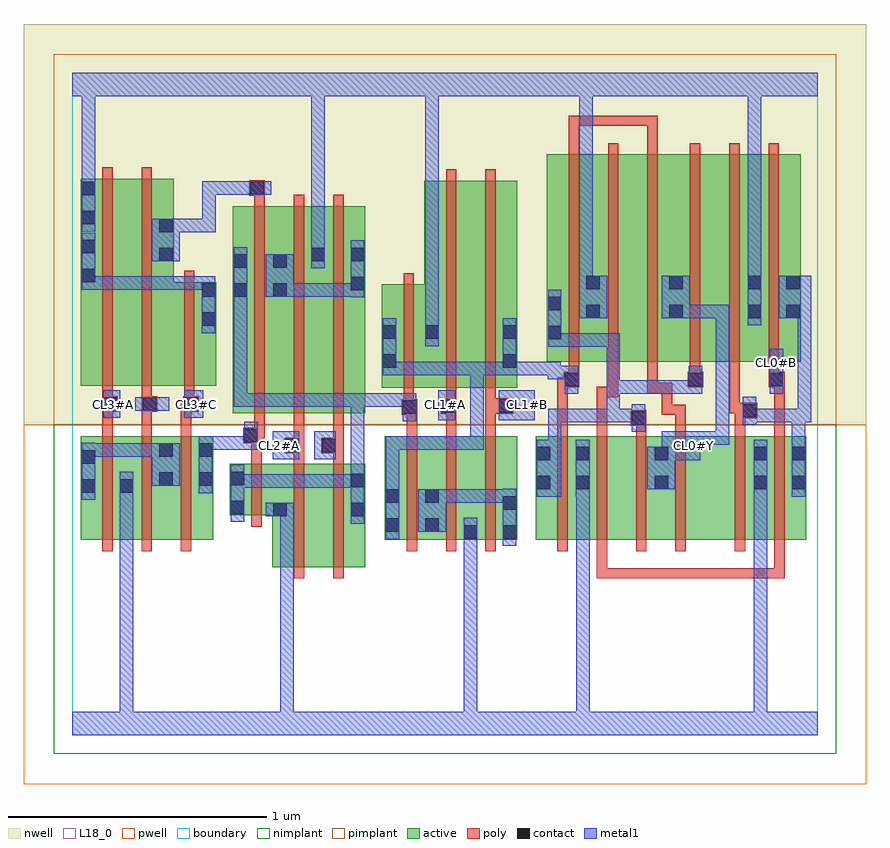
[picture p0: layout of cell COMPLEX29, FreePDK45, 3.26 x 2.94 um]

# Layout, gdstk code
import gdstk
lib = gdstk.Library(unit=1e-6, precision=1e-09)
def R(c, l, rs):  # rectangles x0, y0, x1, y1
    for r in rs: c.add(gdstk.rectangle(r[:2], r[2:], *l))
def A(c, l, x, y, w, h, nx, ny, dx, dy):  # array of equal rectangles
    R(c, l, [(x+i*dx, y+j*dy, x+i*dx+w, y+j*dy+h) for i in range(nx) for j in range(ny)])
active = (1, 0)
pwell = (2, 0)
nwell = (3, 0)
nimplant = (4, 0)
pimplant = (5, 0)
poly = (9, 0)
contact = (10, 0)
metal1 = (11, 0)
L18_0 = (18, 0)
boundary = (235, 0)

complex29 = lib.new_cell('COMPLEX29')
A(complex29, active, 0.18, 0.756, 0.06, 0.4, 3, 1, 0.152, 0)
R(complex29, active, [(0.772,0.65,0.832,1.05), (0.772,0.65,0.952,1.05), (0.952,0.65,1.132,1.05), (0.032,0.756,0.092,1.156), (0.032,0.756,0.24,1.156), (0.18,0.756,0.392,1.156), (0.332,0.756,0.544,1.156), (1.072,0.756,1.132,1.05), (1.208,0.756,1.268,1.156), (1.208,0.756,1.42,1.156), (1.36,0.756,1.42,1.156), (1.36,0.756,1.568,1.156), (1.508,0.756,1.568,1.156), (1.508,0.756,1.72,1.156), (1.66,0.756,1.72,1.156), (1.79,0.756,1.85,1.156), (1.79,0.756,2.002,1.156), (1.942,0.756,2.002,1.118), (1.942,0.756,2.122,1.156), (2.122,0.756,2.306,1.156), (2.246,0.756,2.306,1.118), (2.246,0.756,2.426,1.156), (2.426,0.756,2.688,1.156), (2.628,0.756,2.836,1.156), (2.628,0.756,2.688,1.118), (2.776,0.756,2.836,1.156), (0.608,0.85,0.832,1.05), (0.608,0.85,0.668,1.05), (0.62,1.244,0.68,2.044), (0.62,1.244,0.832,2.044), (0.772,1.244,0.98,2.044), (0.92,1.244,1.132,2.044), (1.072,1.244,1.132,2.044), (1.196,1.342,1.256,1.644), (1.196,1.342,1.42,1.742), (1.36,1.342,1.54,2.142), (1.36,1.342,1.42,1.644), (1.54,1.342,1.72,2.142), (1.66,1.342,1.72,2.044), (0.032,1.35,0.212,2.15), (0.032,1.35,0.092,2.142), (0.212,1.35,0.392,2.15), (0.332,1.35,0.556,1.75), (0.332,1.35,0.392,2), (0.496,1.35,0.556,1.75), (1.834,1.444,1.894,2.044), (1.834,1.444,2.042,2.244), (1.982,1.444,2.042,2.044), (1.982,1.444,2.166,2.244), (2.166,1.444,2.362,2.244), (2.302,1.444,2.362,2.044), (2.302,1.444,2.482,2.244), (2.482,1.444,2.666,2.244), (2.606,1.444,2.666,2.044), (2.606,1.444,2.814,2.244), (2.754,1.444,2.814,2.044), (0.772,1.686,0.832,2.044), (0.92,1.686,0.98,2.044)])
R(complex29, pwell, [(-0.188,-0.188,3.068,1.2)])
R(complex29, nwell, [(-0.188,1.2,3.068,2.748)])
R(complex29, nimplant, [(-0.072,-0.072,2.952,1.2)])
R(complex29, pimplant, [(-0.072,1.2,2.952,2.632)])
A(complex29, poly, 0.116, 0.712, 0.04, 0.488, 3, 1, 0.152, 0)
A(complex29, poly, 1.292, 0.712, 0.04, 0.488, 3, 1, 0.152, 0)
A(complex29, poly, 1.874, 0.712, 0.04, 0.488, 4, 1, 0.152, 0)
A(complex29, poly, 0.116, 1.16, 0.04, 0.13, 3, 1, 0.152, 0)
A(complex29, poly, 0.704, 1.2, 0.04, 0.888, 3, 1, 0.152, 0)
A(complex29, poly, 1.918, 1.4, 0.04, 0.888, 3, 1, 0.152, 0)
A(complex29, poly, 2.386, 1.4, 0.04, 0.888, 3, 1, 0.152, 0)
R(complex29, poly, [(0.856,0.606,0.896,1.094), (1.008,0.606,1.048,1.094), (2.026,0.606,2.066,0.646), (2.026,0.606,2.066,0.752), (2.026,0.606,2.172,0.646), (2.132,0.606,2.172,0.646), (2.132,0.606,2.172,0.646), (2.132,0.606,2.172,0.646), (2.132,0.606,2.368,0.646), (2.328,0.606,2.368,0.646), (2.328,0.606,2.368,0.646), (2.328,0.606,2.368,0.646), (2.328,0.606,2.624,0.646), (2.584,0.606,2.624,0.646), (2.584,0.606,2.624,0.646), (2.584,0.606,2.624,0.646), (2.584,0.606,2.752,0.646), (2.712,0.606,2.752,0.646), (2.712,0.606,2.752,0.646), (2.712,0.606,2.752,0.646), (2.712,0.606,2.752,0.752), (2.56,0.712,2.6,1.2), (2.712,0.712,2.752,1.2), (0.692,0.806,0.732,1.094), (0.692,1.054,0.732,1.168), (0.856,1.054,0.896,1.13), (1.008,1.054,1.048,1.13), (0.82,1.09,0.896,1.15), (0.962,1.09,1.048,1.15), (0.856,1.11,0.896,1.15), (0.856,1.11,0.896,1.15), (0.856,1.11,0.896,1.24), (1.008,1.11,1.048,1.15), (1.008,1.11,1.048,1.15), (1.008,1.11,1.048,1.24), (0.66,1.128,0.732,1.188), (0.692,1.148,0.732,1.188), (0.692,1.148,0.744,1.188), (0.704,1.148,0.744,1.24), (1.292,1.16,1.332,1.278), (1.444,1.16,1.484,1.282), (1.596,1.16,1.636,1.282), (1.874,1.16,1.914,1.384), (2.026,1.16,2.066,1.346), (2.178,1.16,2.218,1.236), (2.33,1.16,2.37,1.278), (2.56,1.16,2.6,1.264), (2.712,1.16,2.752,1.384), (2.158,1.196,2.218,1.256), (2.56,1.224,2.646,1.284), (1.272,1.238,1.332,1.298), (1.292,1.238,1.332,1.278), (1.292,1.238,1.332,1.278), (2.278,1.238,2.318,1.278), (2.278,1.238,2.37,1.278), (2.278,1.238,2.318,1.362), (2.33,1.238,2.37,1.278), (1.424,1.242,1.484,1.302), (1.444,1.242,1.484,1.282), (1.444,1.242,1.484,1.282), (1.596,1.242,1.704,1.302), (2.538,1.244,2.578,1.44), (2.538,1.244,2.6,1.284), (2.56,1.244,2.6,1.284), (0.116,1.25,0.156,1.29), (0.116,1.25,0.156,1.29), (0.116,1.25,0.176,1.31), (0.268,1.25,0.308,1.29), (0.268,1.25,0.308,1.29), (0.268,1.25,0.328,1.31), (0.42,1.25,0.468,1.29), (0.428,1.25,0.468,1.29), (0.428,1.25,0.488,1.31), (1.28,1.258,1.32,1.338), (1.444,1.262,1.484,1.338), (1.596,1.262,1.636,1.338), (1.596,1.262,1.636,1.302), (1.596,1.262,1.636,1.302), (0.116,1.27,0.156,1.346), (0.268,1.27,0.308,1.346), (0.432,1.27,0.472,1.346), (1.28,1.298,1.32,1.786), (1.444,1.298,1.484,2.186), (1.596,1.298,1.636,2.186), (0.116,1.306,0.156,2.194), (0.268,1.306,0.308,2.194), (0.432,1.306,0.472,1.794), (2.026,1.306,2.092,1.346), (2.052,1.306,2.092,1.346), (2.052,1.306,2.11,1.346), (2.07,1.306,2.11,1.44), (2.222,1.322,2.262,1.362), (2.222,1.322,2.262,1.44), (2.222,1.322,2.318,1.362), (2.278,1.322,2.318,1.362), (1.874,1.344,1.938,1.384), (1.898,1.344,1.938,1.384), (1.898,1.344,1.958,1.404), (2.378,1.344,2.438,1.404), (2.69,1.344,2.752,1.404), (2.712,1.344,2.752,1.384), (2.712,1.344,2.752,1.384), (1.918,1.364,1.958,1.44), (2.386,1.364,2.426,1.44), (2.69,1.364,2.73,1.44), (0.704,2.048,0.744,2.124), (0.684,2.084,0.744,2.144), (1.918,2.248,1.958,2.394), (2.222,2.248,2.262,2.394), (1.918,2.354,1.958,2.394), (1.918,2.354,1.958,2.394), (1.918,2.354,1.958,2.394), (1.918,2.354,2.064,2.394), (2.024,2.354,2.064,2.394), (2.024,2.354,2.064,2.394), (2.024,2.354,2.064,2.394), (2.024,2.354,2.262,2.394), (2.222,2.354,2.262,2.394)])
A(complex29, contact, 0.036, 1.75, 0.052, 0.052, 1, 4, 0, 0.112)
R(complex29, contact, [(1.512,0.76,1.564,0.812), (1.664,0.76,1.716,0.812), (1.212,0.786,1.264,0.838), (1.364,0.786,1.416,0.838), (0.776,0.846,0.828,0.898), (1.076,0.846,1.128,0.898), (0.612,0.854,0.664,0.906), (1.664,0.872,1.716,0.924), (1.212,0.898,1.264,0.95), (1.364,0.898,1.416,0.95), (0.036,0.938,0.088,0.99), (0.184,0.938,0.236,0.99), (1.794,0.95,1.846,1.002), (1.946,0.95,1.998,1.002), (2.25,0.95,2.302,1.002), (2.632,0.95,2.684,1.002), (2.78,0.95,2.832,1.002), (1.076,0.958,1.128,1.01), (0.336,0.964,0.388,1.016), (0.488,0.964,0.54,1.016), (0.612,0.966,0.664,1.018), (0.036,1.05,0.088,1.102), (1.794,1.062,1.846,1.114), (1.946,1.062,1.998,1.114), (2.25,1.062,2.302,1.114), (2.632,1.062,2.684,1.114), (2.78,1.062,2.832,1.114), (0.336,1.076,0.388,1.128), (0.488,1.076,0.54,1.128), (0.824,1.094,0.876,1.146), (0.966,1.094,1.018,1.146), (0.664,1.132,0.716,1.184), (2.162,1.2,2.214,1.252), (2.59,1.228,2.642,1.28), (1.276,1.242,1.328,1.294), (1.428,1.246,1.48,1.298), (1.648,1.246,1.7,1.298), (0.12,1.254,0.172,1.306), (0.272,1.254,0.324,1.306), (0.432,1.254,0.484,1.306), (1.902,1.348,1.954,1.4), (2.382,1.348,2.434,1.4), (2.694,1.348,2.746,1.4), (1.2,1.42,1.252,1.472), (1.664,1.42,1.716,1.472), (1.838,1.53,1.89,1.582), (1.2,1.532,1.252,1.584), (1.364,1.532,1.416,1.584), (1.664,1.532,1.716,1.584), (0.5,1.582,0.552,1.634), (1.986,1.612,2.038,1.664), (2.306,1.612,2.358,1.664), (2.61,1.612,2.662,1.664), (2.758,1.612,2.81,1.664), (1.838,1.642,1.89,1.694), (0.5,1.694,0.552,1.746), (0.624,1.694,0.676,1.746), (0.776,1.694,0.828,1.746), (1.076,1.72,1.128,1.772), (1.986,1.724,2.038,1.776), (2.306,1.724,2.358,1.776), (2.61,1.724,2.662,1.776), (2.758,1.724,2.81,1.776), (0.624,1.806,0.676,1.858), (0.776,1.806,0.828,1.858), (0.336,1.832,0.388,1.884), (0.924,1.832,0.976,1.884), (1.076,1.832,1.128,1.884), (0.336,1.944,0.388,1.996), (0.688,2.088,0.74,2.14)])
R(complex29, metal1, [(0,0,2.88,0.092), (0.184,0.04,0.236,0.092), (0.184,0.04,0.236,0.092), (0.184,0.04,0.236,0.092), (0.184,0.04,0.236,0.092), (0.184,0.04,0.236,0.092), (0.184,0.04,0.236,0.092), (0.184,0.04,0.236,0.092), (0.184,0.04,0.236,0.092), (0.184,0.04,0.236,0.092), (0.184,0.04,0.236,0.092), (0.184,0.04,0.236,0.092), (0.184,0.04,0.236,0.092), (0.184,0.04,0.236,0.962), (0.804,0.04,0.856,0.092), (0.804,0.04,0.856,0.092), (0.804,0.04,0.856,0.092), (0.804,0.04,0.856,0.092), (0.804,0.04,0.856,0.898), (1.512,0.04,1.564,0.092), (1.512,0.04,1.564,0.092), (1.512,0.04,1.564,0.092), (1.512,0.04,1.564,0.092), (1.512,0.04,1.564,0.092), (1.512,0.04,1.564,0.092), (1.512,0.04,1.564,0.092), (1.512,0.04,1.564,0.092), (1.512,0.04,1.564,0.784), (1.948,0.04,2,0.092), (1.948,0.04,2,0.092), (1.948,0.04,2,0.092), (1.948,0.04,2,0.092), (1.948,0.04,2,0.092), (1.948,0.04,2,0.092), (1.948,0.04,2,0.092), (1.948,0.04,2,0.092), (1.948,0.04,2,0.092), (1.948,0.04,2,0.092), (1.948,0.04,2,0.092), (1.948,0.04,2,0.092), (1.948,0.04,2,0.974), (2.632,0.04,2.684,0.092), (2.632,0.04,2.684,0.092), (2.632,0.04,2.684,0.092), (2.632,0.04,2.684,0.092), (2.632,0.04,2.684,0.092), (2.632,0.04,2.684,0.092), (2.632,0.04,2.684,0.092), (2.632,0.04,2.684,0.092), (2.632,0.04,2.684,0.974), (1.512,0.732,1.564,0.784), (1.512,0.732,1.564,0.784), (1.512,0.732,1.564,0.784), (1.512,0.732,1.564,0.784), (1.512,0.732,1.564,0.84), (1.664,0.732,1.716,0.952), (1.212,0.758,1.264,0.978), (1.336,0.786,1.444,0.95), (1.076,0.818,1.128,1.038), (0.612,0.826,0.664,1.046), (0.748,0.846,0.856,0.898), (0.804,0.846,0.856,0.898), (0.804,0.846,0.856,0.898), (0.804,0.846,0.856,0.898), (0.804,0.846,0.856,0.898), (0.804,0.846,0.856,0.898), (0.804,0.846,0.856,0.898), (0.804,0.846,0.856,0.898), (0.804,0.846,0.856,0.898), (1.392,0.898,1.554,0.95), (1.502,0.898,1.554,0.95), (1.502,0.898,1.554,0.95), (1.502,0.898,1.554,0.95), (1.502,0.898,1.716,0.95), (1.664,0.898,1.716,0.95), (1.664,0.898,1.716,0.95), (0.036,0.91,0.088,1.13), (0.184,0.91,0.236,1.018), (1.794,0.922,1.89,1.142), (1.946,0.922,2,1.142), (2.632,0.922,2.684,0.974), (2.632,0.922,2.684,0.974), (2.632,0.922,2.684,0.974), (2.632,0.922,2.684,0.974), (2.632,0.922,2.684,1.142), (2.78,0.922,2.832,1.142), (1.212,0.926,1.264,1.156), (0.488,0.936,0.54,1.156), (2.222,0.95,2.33,1.114), (0.612,0.956,0.664,1.008), (0.612,0.956,0.664,1.008), (0.612,0.956,0.856,1.008), (0.804,0.956,0.856,1.008), (0.804,0.956,0.856,1.008), (0.804,0.956,0.856,1.008), (0.804,0.956,0.966,1.008), (0.914,0.956,0.966,1.008), (0.914,0.956,0.966,1.008), (0.914,0.956,0.966,1.008), (0.914,0.956,1.128,1.008), (0.308,0.964,0.416,1.128), (1.076,0.986,1.128,1.322), (2.278,1.062,2.33,1.114), (2.278,1.062,2.426,1.174), (0.774,1.066,0.876,1.174), (0.934,1.066,1.018,1.174), (0.036,1.076,0.088,1.128), (0.036,1.076,0.088,1.128), (0.036,1.076,0.25,1.128), (0.198,1.076,0.25,1.128), (0.198,1.076,0.25,1.128), (0.198,1.076,0.25,1.128), (0.198,1.076,0.36,1.128), (1.838,1.09,1.89,1.262), (2.78,1.09,2.832,1.262), (0.488,1.104,0.54,1.156), (0.488,1.104,0.54,1.156), (0.488,1.104,0.54,1.156), (0.488,1.104,0.54,1.156), (0.488,1.104,0.716,1.156), (0.664,1.104,0.716,1.212), (1.212,1.104,1.264,1.156), (1.212,1.104,1.264,1.156), (1.212,1.104,1.264,1.156), (1.212,1.104,1.374,1.156), (1.322,1.104,1.374,1.156), (1.322,1.104,1.374,1.156), (1.322,1.104,1.374,1.156), (1.322,1.104,1.59,1.156), (1.538,1.104,1.59,1.156), (1.538,1.104,1.59,1.444), (2.374,1.122,2.426,1.174), (2.374,1.122,2.426,1.174), (2.374,1.122,2.538,1.174), (2.486,1.122,2.538,1.174), (2.486,1.122,2.538,1.664), (2.162,1.172,2.214,1.28), (2.59,1.2,2.642,1.308), (1.838,1.21,1.89,1.262), (1.838,1.21,1.896,1.262), (1.844,1.21,1.896,1.262), (1.844,1.21,2.006,1.262), (1.954,1.21,2.006,1.262), (1.954,1.21,2.006,1.262), (1.954,1.21,2.006,1.262), (1.954,1.21,2.116,1.262), (2.064,1.21,2.116,1.262), (2.064,1.21,2.214,1.262), (2.064,1.21,2.116,1.372), (2.59,1.21,2.648,1.262), (2.596,1.21,2.648,1.262), (2.596,1.21,2.832,1.262), (2.78,1.21,2.832,1.262), (2.78,1.21,2.832,1.262), (2.78,1.21,2.854,1.262), (2.802,1.21,2.854,1.664), (2.802,1.21,2.854,1.262), (2.802,1.21,2.854,1.262), (1.276,1.214,1.328,1.322), (1.414,1.218,1.48,1.334), (1.648,1.218,1.786,1.334), (0.12,1.226,0.186,1.334), (0.432,1.226,0.506,1.334), (0.244,1.254,0.374,1.306), (0.624,1.27,0.676,1.322), (0.624,1.27,0.676,1.322), (0.624,1.27,0.676,1.322), (0.624,1.27,0.856,1.322), (0.624,1.27,0.676,1.718), (0.804,1.27,0.856,1.322), (0.804,1.27,0.856,1.322), (0.804,1.27,0.856,1.322), (0.804,1.27,0.986,1.322), (0.934,1.27,0.986,1.322), (0.934,1.27,0.986,1.322), (0.934,1.27,0.986,1.322), (0.934,1.27,1.128,1.322), (1.076,1.27,1.128,1.322), (1.076,1.27,1.128,1.322), (1.076,1.27,1.128,1.322), (1.076,1.27,1.128,1.322), (1.076,1.27,1.128,1.322), (1.076,1.27,1.328,1.322), (1.902,1.32,1.954,1.428), (2.064,1.32,2.116,1.372), (2.064,1.32,2.116,1.372), (2.064,1.32,2.116,1.372), (2.064,1.32,2.428,1.372), (2.064,1.32,2.116,1.554), (2.376,1.32,2.428,1.372), (2.376,1.32,2.434,1.372), (2.382,1.32,2.434,1.428), (2.694,1.32,2.746,1.494), (1.836,1.376,1.954,1.428), (1.836,1.376,1.888,1.444), (1.2,1.392,1.252,1.444), (1.2,1.392,1.252,1.444), (1.2,1.392,1.252,1.612), (1.2,1.392,1.444,1.444), (1.392,1.392,1.444,1.444), (1.392,1.392,1.444,1.444), (1.392,1.392,1.444,1.444), (1.392,1.392,1.606,1.444), (1.538,1.392,1.59,1.444), (1.538,1.392,1.716,1.444), (1.554,1.392,1.606,1.444), (1.554,1.392,1.716,1.444), (1.664,1.392,1.716,1.444), (1.664,1.392,1.716,1.444), (1.664,1.392,1.716,1.444), (1.664,1.392,1.716,1.444), (1.664,1.392,1.716,1.444), (1.664,1.392,1.716,1.444), (1.664,1.392,1.716,1.612), (1.664,1.392,1.888,1.444), (1.838,1.502,1.89,1.722), (1.838,1.502,1.896,1.554), (1.844,1.502,1.896,1.554), (1.844,1.502,2.006,1.554), (1.954,1.502,2.006,1.554), (1.954,1.502,2.006,1.554), (1.954,1.502,2.006,1.554), (1.954,1.502,2.116,1.554), (2.064,1.502,2.116,1.554), (1.364,1.504,1.416,1.612), (0.5,1.554,0.552,1.774), (1.364,1.56,1.416,2.52), (2.61,1.584,2.662,1.804), (1.958,1.612,2.066,1.776), (2.278,1.612,2.386,1.776), (2.334,1.612,2.386,1.664), (2.334,1.612,2.386,1.664), (2.334,1.612,2.538,1.664), (2.486,1.612,2.538,1.664), (2.486,1.612,2.538,1.664), (2.486,1.612,2.538,1.664), (2.73,1.612,2.854,1.776), (0.624,1.666,0.676,1.886), (1.076,1.692,1.128,1.912), (0.748,1.694,0.856,1.858), (0.804,1.694,0.856,1.746), (0.804,1.694,0.856,1.746), (0.804,1.694,1.018,1.746), (0.966,1.694,1.018,1.746), (0.966,1.694,1.018,1.746), (0.966,1.694,1.018,1.746), (0.966,1.694,1.128,1.746), (0.036,1.722,0.088,1.774), (0.036,1.722,0.088,1.774), (0.036,1.722,0.088,1.942), (0.036,1.722,0.198,1.774), (0.146,1.722,0.198,1.774), (0.146,1.722,0.198,1.774), (0.146,1.722,0.198,1.774), (0.146,1.722,0.43,1.774), (0.378,1.722,0.43,1.774), (0.378,1.722,0.43,1.774), (0.378,1.722,0.43,1.774), (0.378,1.722,0.552,1.774), (1.958,1.724,2.01,1.776), (1.958,1.724,2.01,1.776), (1.958,1.724,2.01,1.776), (1.958,1.724,2.01,1.776), (1.958,1.724,2.01,2.52), (2.61,1.752,2.662,2.52), (0.924,1.804,0.976,1.912), (0.308,1.832,0.416,1.996), (0.924,1.86,0.976,2.52), (0.364,1.944,0.416,1.996), (0.364,1.944,0.416,1.996), (0.364,1.944,0.554,1.996), (0.502,1.944,0.554,1.996), (0.502,1.944,0.554,1.996), (0.502,1.944,0.554,1.996), (0.502,1.944,0.554,2.14), (0.036,1.946,0.088,2.166), (0.502,2.088,0.554,2.14), (0.502,2.088,0.712,2.14), (0.66,2.088,0.768,2.14), (0.036,2.114,0.088,2.52), (0,2.468,2.88,2.56), (0.036,2.468,0.088,2.52), (0.036,2.468,0.088,2.52), (0.036,2.468,0.088,2.52), (0.036,2.468,0.088,2.52), (0.036,2.468,0.088,2.52), (0.036,2.468,0.088,2.52), (0.036,2.468,0.088,2.52), (0.036,2.468,0.088,2.52), (0.924,2.468,0.976,2.52), (0.924,2.468,0.976,2.52), (0.924,2.468,0.976,2.52), (0.924,2.468,0.976,2.52), (0.924,2.468,0.976,2.52), (0.924,2.468,0.976,2.52), (0.924,2.468,0.976,2.52), (0.924,2.468,0.976,2.52), (1.364,2.468,1.416,2.52), (1.364,2.468,1.416,2.52), (1.364,2.468,1.416,2.52), (1.364,2.468,1.416,2.52), (1.364,2.468,1.416,2.52), (1.364,2.468,1.416,2.52), (1.364,2.468,1.416,2.52), (1.364,2.468,1.416,2.52), (1.958,2.468,2.01,2.52), (1.958,2.468,2.01,2.52), (1.958,2.468,2.01,2.52), (1.958,2.468,2.01,2.52), (2.61,2.468,2.662,2.52), (2.61,2.468,2.662,2.52), (2.61,2.468,2.662,2.52), (2.61,2.468,2.662,2.52), (2.61,2.468,2.662,2.52), (2.61,2.468,2.662,2.52), (2.61,2.468,2.662,2.52), (2.61,2.468,2.662,2.52)])
A(complex29, L18_0, 0.134, 1.254, 0.052, 0.052, 3, 1, 0.16, 0)
R(complex29, L18_0, [(0,0,2.88,0.092), (0.184,0.04,0.236,0.092), (0.184,0.04,0.236,0.092), (0.184,0.04,0.236,0.092), (0.184,0.04,0.236,0.092), (0.184,0.04,0.236,0.092), (0.184,0.04,0.236,0.092), (0.184,0.04,0.236,0.092), (0.184,0.04,0.236,0.092), (0.184,0.04,0.236,0.092), (0.184,0.04,0.236,0.092), (0.184,0.04,0.236,0.092), (0.184,0.04,0.236,0.092), (0.184,0.04,0.236,0.962), (0.804,0.04,0.856,0.092), (0.804,0.04,0.856,0.092), (0.804,0.04,0.856,0.092), (0.804,0.04,0.856,0.092), (0.804,0.04,0.856,0.898), (1.512,0.04,1.564,0.092), (1.512,0.04,1.564,0.092), (1.512,0.04,1.564,0.092), (1.512,0.04,1.564,0.092), (1.512,0.04,1.564,0.092), (1.512,0.04,1.564,0.092), (1.512,0.04,1.564,0.092), (1.512,0.04,1.564,0.092), (1.512,0.04,1.564,0.784), (1.948,0.04,2,0.092), (1.948,0.04,2,0.092), (1.948,0.04,2,0.092), (1.948,0.04,2,0.092), (1.948,0.04,2,0.092), (1.948,0.04,2,0.092), (1.948,0.04,2,0.092), (1.948,0.04,2,0.092), (1.948,0.04,2,0.092), (1.948,0.04,2,0.092), (1.948,0.04,2,0.092), (1.948,0.04,2,0.092), (1.948,0.04,2,0.974), (2.632,0.04,2.684,0.092), (2.632,0.04,2.684,0.092), (2.632,0.04,2.684,0.092), (2.632,0.04,2.684,0.092), (2.632,0.04,2.684,0.092), (2.632,0.04,2.684,0.092), (2.632,0.04,2.684,0.092), (2.632,0.04,2.684,0.092), (2.632,0.04,2.684,0.974), (1.512,0.732,1.564,0.784), (1.512,0.732,1.564,0.784), (1.512,0.732,1.564,0.784), (1.512,0.732,1.564,0.784), (1.512,0.732,1.564,0.84), (0.748,0.846,0.856,0.898), (0.804,0.846,0.856,0.898), (0.804,0.846,0.856,0.898), (0.804,0.846,0.856,0.898), (0.804,0.846,0.856,0.898), (0.804,0.846,0.856,0.898), (0.804,0.846,0.856,0.898), (0.804,0.846,0.856,0.898), (0.804,0.846,0.856,0.898), (0.184,0.91,0.236,1.018), (1.946,0.922,2,1.142), (2.632,0.922,2.684,1.142), (2.632,0.922,2.684,0.974), (2.632,0.922,2.684,0.974), (2.632,0.922,2.684,0.974), (2.632,0.922,2.684,0.974), (2.222,0.95,2.33,1.114), (2.278,1.062,2.33,1.114), (2.278,1.062,2.426,1.174), (0.774,1.066,0.876,1.174), (0.934,1.066,1.018,1.174), (0.774,1.094,0.826,1.146), (0.934,1.094,0.986,1.146), (2.374,1.094,2.426,1.146), (2.374,1.122,2.426,1.174), (2.374,1.122,2.426,1.174), (2.374,1.122,2.538,1.174), (2.486,1.122,2.538,1.174), (2.486,1.122,2.538,1.664), (1.414,1.218,1.48,1.334), (1.648,1.218,1.786,1.334), (0.12,1.226,0.186,1.334), (0.432,1.226,0.506,1.334), (0.244,1.254,0.374,1.306), (1.414,1.254,1.466,1.306), (1.734,1.254,1.786,1.306), (2.694,1.32,2.746,1.494), (2.694,1.414,2.746,1.466), (1.364,1.504,1.416,1.612), (0.5,1.554,0.552,1.774), (1.364,1.56,1.416,2.52), (2.61,1.584,2.662,1.804), (1.958,1.612,2.066,1.776), (2.278,1.612,2.386,1.776), (2.334,1.612,2.386,1.664), (2.334,1.612,2.386,1.664), (2.334,1.612,2.538,1.664), (2.486,1.612,2.538,1.664), (2.486,1.612,2.538,1.664), (2.486,1.612,2.538,1.664), (0.036,1.722,0.088,1.942), (0.036,1.722,0.088,1.774), (0.036,1.722,0.088,1.774), (0.036,1.722,0.198,1.774), (0.146,1.722,0.198,1.774), (0.146,1.722,0.198,1.774), (0.146,1.722,0.198,1.774), (0.146,1.722,0.43,1.774), (0.378,1.722,0.43,1.774), (0.378,1.722,0.43,1.774), (0.378,1.722,0.43,1.774), (0.378,1.722,0.552,1.774), (1.958,1.724,2.01,1.776), (1.958,1.724,2.01,1.776), (1.958,1.724,2.01,1.776), (1.958,1.724,2.01,1.776), (1.958,1.724,2.01,2.52), (2.61,1.752,2.662,2.52), (0.924,1.804,0.976,1.912), (0.924,1.86,0.976,2.52), (0.036,1.946,0.088,2.166), (0.036,2.114,0.088,2.52), (0,2.468,2.88,2.56), (0.036,2.468,0.088,2.52), (0.036,2.468,0.088,2.52), (0.036,2.468,0.088,2.52), (0.036,2.468,0.088,2.52), (0.036,2.468,0.088,2.52), (0.036,2.468,0.088,2.52), (0.036,2.468,0.088,2.52), (0.036,2.468,0.088,2.52), (0.924,2.468,0.976,2.52), (0.924,2.468,0.976,2.52), (0.924,2.468,0.976,2.52), (0.924,2.468,0.976,2.52), (0.924,2.468,0.976,2.52), (0.924,2.468,0.976,2.52), (0.924,2.468,0.976,2.52), (0.924,2.468,0.976,2.52), (1.364,2.468,1.416,2.52), (1.364,2.468,1.416,2.52), (1.364,2.468,1.416,2.52), (1.364,2.468,1.416,2.52), (1.364,2.468,1.416,2.52), (1.364,2.468,1.416,2.52), (1.364,2.468,1.416,2.52), (1.364,2.468,1.416,2.52), (1.958,2.468,2.01,2.52), (1.958,2.468,2.01,2.52), (1.958,2.468,2.01,2.52), (1.958,2.468,2.01,2.52), (2.61,2.468,2.662,2.52), (2.61,2.468,2.662,2.52), (2.61,2.468,2.662,2.52), (2.61,2.468,2.662,2.52), (2.61,2.468,2.662,2.52), (2.61,2.468,2.662,2.52), (2.61,2.468,2.662,2.52), (2.61,2.468,2.662,2.52)])
R(complex29, boundary, [(0,0,2.88,2.56)])
complex29.add(gdstk.Label('CL0#B', (2.72,1.44), layer=11, texttype=0))
complex29.add(gdstk.Label('CL0#Y', (2.4,1.12), layer=11, texttype=0))
complex29.add(gdstk.Label('CL1#A', (1.44,1.28), layer=11, texttype=0))
complex29.add(gdstk.Label('CL1#B', (1.76,1.28), layer=11, texttype=0))
complex29.add(gdstk.Label('CL2#A', (0.8,1.12), layer=11, texttype=0))
complex29.add(gdstk.Label('CL2#B', (0.96,1.12), layer=11, texttype=0))
complex29.add(gdstk.Label('CL3#A', (0.16,1.28), layer=11, texttype=0))
complex29.add(gdstk.Label('CL3#B', (0.32,1.28), layer=11, texttype=0))
complex29.add(gdstk.Label('CL3#C', (0.48,1.28), layer=11, texttype=0))

lib.write_gds('COMPLEX29.gds')
